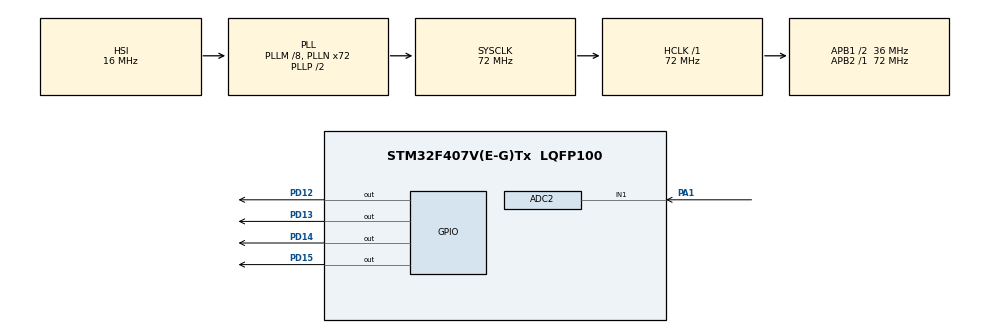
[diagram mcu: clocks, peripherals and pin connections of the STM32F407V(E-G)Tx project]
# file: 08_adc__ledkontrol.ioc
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ADC2.Channel-0\#ChannelRegularConversion=ADC_CHANNEL_1
ADC2.ContinuousConvMode=ENABLE
ADC2.NbrOfConversionFlag=1
ADC2.Rank-0\#ChannelRegularConversion=1
ADC2.Resolution=ADC_RESOLUTION_8B
ADC2.SamplingTime-0\#ChannelRegularConversion=ADC_SAMPLETIME_112CYCLES
ADC2.ScanConvMode=ENABLE
Mcu.Family=STM32F4
Mcu.Name=STM32F407V(E-G)Tx
Mcu.Package=LQFP100
NVIC.PriorityGroup=NVIC_PRIORITYGROUP_4
PA1.Signal=ADCx_IN1
PD12.Signal=GPIO_Output
PD13.Signal=GPIO_Output
PD14.Signal=GPIO_Output
PD15.Signal=GPIO_Output
ProjectManager.HeapSize=0x200
ProjectManager.StackSize=0x400
ProjectManager.TargetToolchain=STM32CubeIDE
RCC.48MHZClocksFreq_Value=36000000
RCC.AHBFreq_Value=72000000
RCC.APB1CLKDivider=RCC_HCLK_DIV2
RCC.APB1Freq_Value=36000000
RCC.APB1TimFreq_Value=72000000
RCC.APB2Freq_Value=72000000
RCC.APB2TimFreq_Value=72000000
RCC.CortexFreq_Value=72000000
RCC.HCLKFreq_Value=72000000
RCC.HSE_VALUE=25000000
RCC.HSI_VALUE=16000000
RCC.LSE_VALUE=32768
RCC.PLLM=8
RCC.PLLN=72
RCC.SYSCLKFreq_VALUE=72000000
RCC.SYSCLKSource=RCC_SYSCLKSOURCE_PLLCLK
RCC.VCOOutputFreq_Value=144000000
SH.ADCx_IN1.0=ADC2_IN1,IN1
board=custom

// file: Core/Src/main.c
/* USER CODE BEGIN Header */
/**
  ******************************************************************************
  * @file           : main.c
  * @brief          : Main program body
  ******************************************************************************
  * @attention
  *
  * Copyright (c) 2026 STMicroelectronics.
  * All rights reserved.
  *
  * This software is licensed under terms that can be found in the LICENSE file
  * in the root directory of this software component.
  * If no LICENSE file comes with this software, it is provided AS-IS.
  *
  ******************************************************************************
  */
/* USER CODE END Header */
#include "main.h"

ADC_HandleTypeDef hadc2;

/* USER CODE BEGIN PV */
uint8_t analogvalue = 0;

/* USER CODE END PV */

void SystemClock_Config(void);
static void MX_GPIO_Init(void);
static void MX_ADC2_Init(void);

/* USER CODE BEGIN 0 */
uint8_t Read_adc_value(void){
	uint32_t adcVal=0;

	if(HAL_ADC_Start(&hadc2) == HAL_OK){

		if(HAL_ADC_PollForConversion(&hadc2 , 1000) == HAL_OK){
			adcVal = HAL_ADC_GetValue(&hadc2);

		}
		HAL_ADC_Stop(&hadc2);
	}
	return adcVal;
}
/* USER CODE END 0 */

int main(void)
{

  /* MCU Configuration--------------------------------------------------------*/

  /* Reset of all peripherals, Initializes the Flash interface and the Systick. */
  HAL_Init();

  /* Configure the system clock */
  SystemClock_Config();

  /* Initialize all configured peripherals */
  MX_GPIO_Init();
  MX_ADC2_Init();

  /* Infinite loop */
  while (1)
  {

    /* USER CODE BEGIN 3 */
	  analogvalue = Read_adc_value();
	  /*
	   * anadalog değer 0-255 (8 bit)
	   * tüm ledler sönük 0-51
	   * pd12 aktif 51-102
	   * pd12 ve pd13 102-153
	   * pd12 pd13 pd14  153-204
	   * pd12 13 14 15 204-255
	   */
	  if(analogvalue >=0 && analogvalue<51)
	  {
		  HAL_GPIO_WritePin(GPIOD, GPIO_PIN_12 |GPIO_PIN_13 |GPIO_PIN_14 |GPIO_PIN_15, GPIO_PIN_RESET);
	  }
	  else if(analogvalue >=51 && analogvalue<102)
	  {
		  HAL_GPIO_WritePin(GPIOD, GPIO_PIN_12, GPIO_PIN_SET);
		  HAL_GPIO_WritePin(GPIOD, GPIO_PIN_13 |GPIO_PIN_14 |GPIO_PIN_15, GPIO_PIN_RESET);
	  }
	  else if(analogvalue >=102 && analogvalue<153)
	  	  {
	  		  HAL_GPIO_WritePin(GPIOD, GPIO_PIN_12|GPIO_PIN_13, GPIO_PIN_SET);
	  		  HAL_GPIO_WritePin(GPIOD, GPIO_PIN_14 |GPIO_PIN_15, GPIO_PIN_RESET);
  }
	  else if(analogvalue >=153 && analogvalue<204)
	  {
	 	  		  HAL_GPIO_WritePin(GPIOD, GPIO_PIN_12|GPIO_PIN_13| GPIO_PIN_14, GPIO_PIN_SET);
	 	  		  HAL_GPIO_WritePin(GPIOD, GPIO_PIN_15, GPIO_PIN_RESET);
	 	  	}
	  else if(analogvalue >=204 && analogvalue<255)
	  {
	  	 	  		  HAL_GPIO_WritePin(GPIOD, GPIO_PIN_12|GPIO_PIN_13| GPIO_PIN_14| GPIO_PIN_15, GPIO_PIN_SET);
	  	 	  	  }
  }
}
  /* USER CODE END 3 */

void SystemClock_Config(void)
{
  RCC_OscInitTypeDef RCC_OscInitStruct = {0};
  RCC_ClkInitTypeDef RCC_ClkInitStruct = {0};

  /** Configure the main internal regulator output voltage
  */
  __HAL_RCC_PWR_CLK_ENABLE();
  __HAL_PWR_VOLTAGESCALING_CONFIG(PWR_REGULATOR_VOLTAGE_SCALE1);

  /** Initializes the RCC Oscillators according to the specified parameters
  * in the RCC_OscInitTypeDef structure.
  */
  RCC_OscInitStruct.OscillatorType = RCC_OSCILLATORTYPE_HSI;
  RCC_OscInitStruct.HSIState = RCC_HSI_ON;
  RCC_OscInitStruct.HSICalibrationValue = RCC_HSICALIBRATION_DEFAULT;
  RCC_OscInitStruct.PLL.PLLState = RCC_PLL_ON;
  RCC_OscInitStruct.PLL.PLLSource = RCC_PLLSOURCE_HSI;
  RCC_OscInitStruct.PLL.PLLM = 8;
  RCC_OscInitStruct.PLL.PLLN = 72;
  RCC_OscInitStruct.PLL.PLLP = RCC_PLLP_DIV2;
  RCC_OscInitStruct.PLL.PLLQ = 4;
  if (HAL_RCC_OscConfig(&RCC_OscInitStruct) != HAL_OK)
  {
    Error_Handler();
  }

  /** Initializes the CPU, AHB and APB buses clocks
  */
  RCC_ClkInitStruct.ClockType = RCC_CLOCKTYPE_HCLK|RCC_CLOCKTYPE_SYSCLK
                              |RCC_CLOCKTYPE_PCLK1|RCC_CLOCKTYPE_PCLK2;
  RCC_ClkInitStruct.SYSCLKSource = RCC_SYSCLKSOURCE_PLLCLK;
  RCC_ClkInitStruct.AHBCLKDivider = RCC_SYSCLK_DIV1;
  RCC_ClkInitStruct.APB1CLKDivider = RCC_HCLK_DIV2;
  RCC_ClkInitStruct.APB2CLKDivider = RCC_HCLK_DIV1;

  if (HAL_RCC_ClockConfig(&RCC_ClkInitStruct, FLASH_LATENCY_2) != HAL_OK)
  {
    Error_Handler();
  }
}

static void MX_ADC2_Init(void)
{

  ADC_ChannelConfTypeDef sConfig = {0};

  /** Configure the global features of the ADC (Clock, Resolution, Data Alignment and number of conversion)
  */
  hadc2.Instance = ADC2;
  hadc2.Init.ClockPrescaler = ADC_CLOCK_SYNC_PCLK_DIV2;
  hadc2.Init.Resolution = ADC_RESOLUTION_8B;
  hadc2.Init.ScanConvMode = ENABLE;
  hadc2.Init.ContinuousConvMode = ENABLE;
  hadc2.Init.DiscontinuousConvMode = DISABLE;
  hadc2.Init.ExternalTrigConvEdge = ADC_EXTERNALTRIGCONVEDGE_NONE;
  hadc2.Init.ExternalTrigConv = ADC_SOFTWARE_START;
  hadc2.Init.DataAlign = ADC_DATAALIGN_RIGHT;
  hadc2.Init.NbrOfConversion = 1;
  hadc2.Init.DMAContinuousRequests = DISABLE;
  hadc2.Init.EOCSelection = ADC_EOC_SINGLE_CONV;
  if (HAL_ADC_Init(&hadc2) != HAL_OK)
  {
    Error_Handler();
  }

  /** Configure for the selected ADC regular channel its corresponding rank in the sequencer and its sample time.
  */
  sConfig.Channel = ADC_CHANNEL_1;
  sConfig.Rank = 1;
  sConfig.SamplingTime = ADC_SAMPLETIME_112CYCLES;
  if (HAL_ADC_ConfigChannel(&hadc2, &sConfig) != HAL_OK)
  {
    Error_Handler();
  }

}

static void MX_GPIO_Init(void)
{
  GPIO_InitTypeDef GPIO_InitStruct = {0};

  /* GPIO Ports Clock Enable */
  __HAL_RCC_GPIOA_CLK_ENABLE();
  __HAL_RCC_GPIOD_CLK_ENABLE();

  /*Configure GPIO pin Output Level */
  HAL_GPIO_WritePin(GPIOD, GPIO_PIN_12|GPIO_PIN_13|GPIO_PIN_14|GPIO_PIN_15, GPIO_PIN_RESET);

  /*Configure GPIO pins : PD12 PD13 PD14 PD15 */
  GPIO_InitStruct.Pin = GPIO_PIN_12|GPIO_PIN_13|GPIO_PIN_14|GPIO_PIN_15;
  GPIO_InitStruct.Mode = GPIO_MODE_OUTPUT_PP;
  GPIO_InitStruct.Pull = GPIO_NOPULL;
  GPIO_InitStruct.Speed = GPIO_SPEED_FREQ_LOW;
  HAL_GPIO_Init(GPIOD, &GPIO_InitStruct);

}

void Error_Handler(void)
{
  __disable_irq();
  while (1)
  {
  }
}
